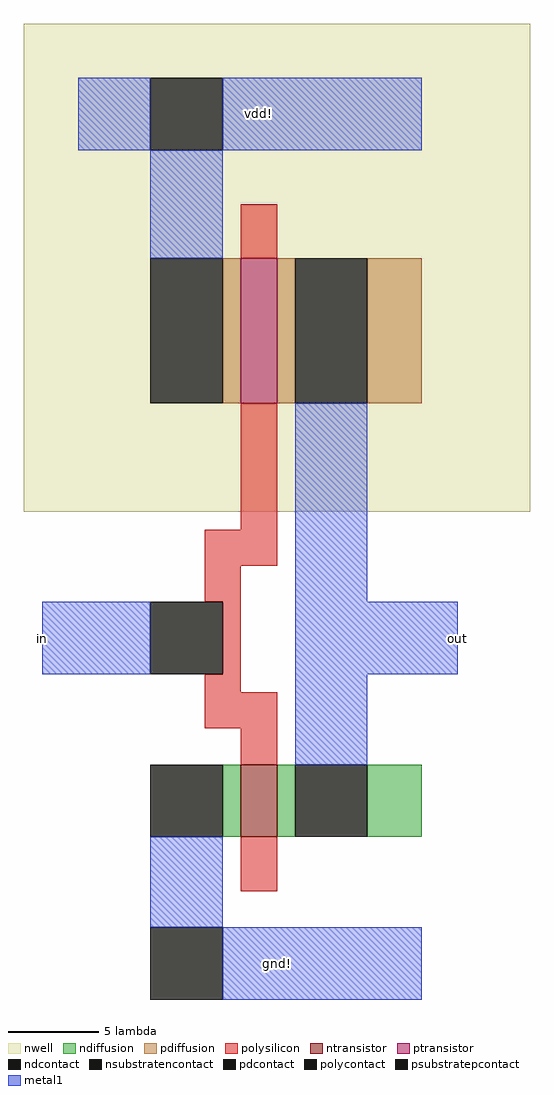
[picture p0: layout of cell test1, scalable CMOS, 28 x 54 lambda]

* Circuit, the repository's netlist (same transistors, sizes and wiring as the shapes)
* SPICE3 file created from test1.ext - technology: scmos

.option scale=0.12u

M1000 out in vdd vdd PMOS w=8 l=2
+  ad=64p pd=32u as=40p ps=26u
M1001 out in gnd Gnd NMOS w=4 l=2
+  ad=32p pd=24u as=20p ps=18u

.include tsmc_cmos025

Vs Vdd Gnd 2.5V
Vp in Gnd PULSE(0 2.5 2n 0.1n 0.1n 4n 10n)

.TRAN 1n 60n
.OPTIONS

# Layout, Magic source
magic
tech scmos
<< nwell >>
rect -10 3 18 30
<< ntransistor >>
rect 2 -15 4 -11
<< ptransistor >>
rect 2 9 4 17
<< ndiffusion >>
rect 1 -15 2 -11
rect 4 -15 5 -11
rect 9 -15 12 -11
<< pdiffusion >>
rect 1 9 2 17
rect 4 9 5 17
rect 9 9 12 17
<< ndcontact >>
rect -3 -15 1 -11
rect 5 -15 9 -11
<< pdcontact >>
rect -3 9 1 17
rect 5 9 9 17
<< psubstratepcontact >>
rect -3 -24 1 -20
<< nsubstratencontact >>
rect -3 23 1 27
<< polysilicon >>
rect 2 17 4 20
rect 2 2 4 9
rect 0 0 4 2
rect 0 -2 2 0
rect 1 -6 2 -2
rect 0 -7 2 -6
rect 0 -9 4 -7
rect 2 -11 4 -9
rect 2 -18 4 -15
<< polycontact >>
rect -3 -6 1 -2
<< metal1 >>
rect -7 23 -3 27
rect 1 23 12 27
rect -3 17 1 23
rect 5 -2 9 9
rect -9 -6 -3 -2
rect 5 -6 14 -2
rect 5 -11 9 -6
rect -3 -20 1 -15
rect 1 -24 12 -20
<< labels >>
rlabel metal1 -9 -6 -9 -2 3 in
rlabel metal1 14 -6 14 -2 7 out
rlabel metal1 4 -22 4 -22 1 gnd!
rlabel metal1 3 25 3 25 5 vdd!
<< end >>
